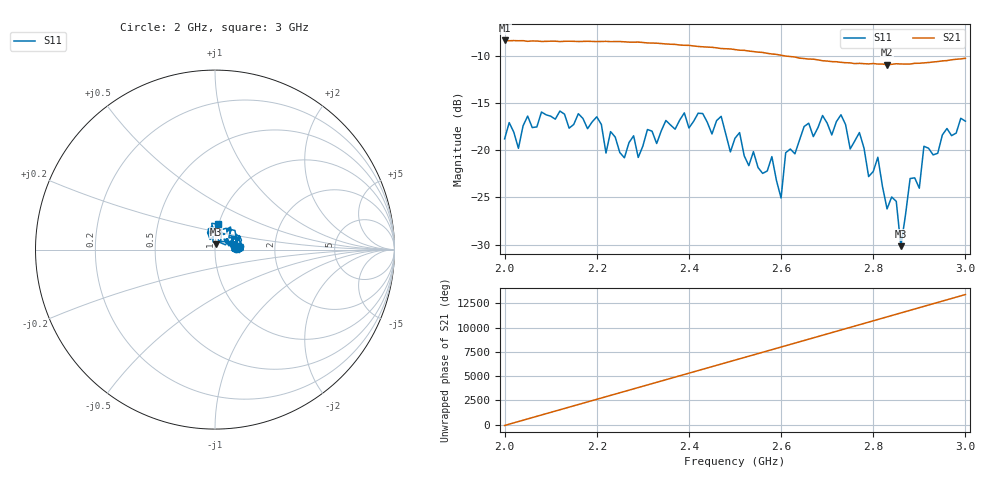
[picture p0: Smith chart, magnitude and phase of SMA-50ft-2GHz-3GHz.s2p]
# HZ S RI R 50
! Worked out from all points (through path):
!   101 points, 2 GHz to 3 GHz, reference 50 ohm
!   highest |S21| = -8.39 dB at 2 GHz (marker M1); lowest = -10.9 dB at 2.83 GHz (marker M2)
!   lowest |S11| = -30.2 dB at 2.86 GHz (marker M3), VSWR 1.06, Z = 50.6 + j3.07 ohm
!   |S11| at or under -10 dB: start of sweep to end of sweep
!   S12 and S22 are empty: the file has one direction only
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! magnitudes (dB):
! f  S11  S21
! 2 GHz  -18.8  -8.4
! 2.17 GHz  -16.6  -8.5
! 2.26 GHz  -20.8  -8.5
! 2.34 GHz  -17.9  -8.7
! 2.43 GHz  -16.1  -9.1
! 2.5 GHz  -18.7  -9.3
! 2.56 GHz  -22.5  -9.7
! 2.58 GHz  -20.7  -9.8
! 2.6 GHz  -25.1  -10.0
! 2.61 GHz  -20.3  -10.0
! 2.67 GHz  -18.6  -10.4
! 2.69 GHz  -16.3  -10.5
! 2.77 GHz  -18.1  -10.8
! 2.79 GHz  -22.8  -10.9
! 2.81 GHz  -20.7  -10.9
! 2.83 GHz  -26.2  -10.9
! 2.84 GHz  -25.0  -10.9
! 2.86 GHz  -30.2  -10.9
! 2.88 GHz  -23.0  -10.9
! 2.9 GHz  -24.0  -10.8
! 2.91 GHz  -19.6  -10.8
! 3 GHz  -16.9  -10.3
